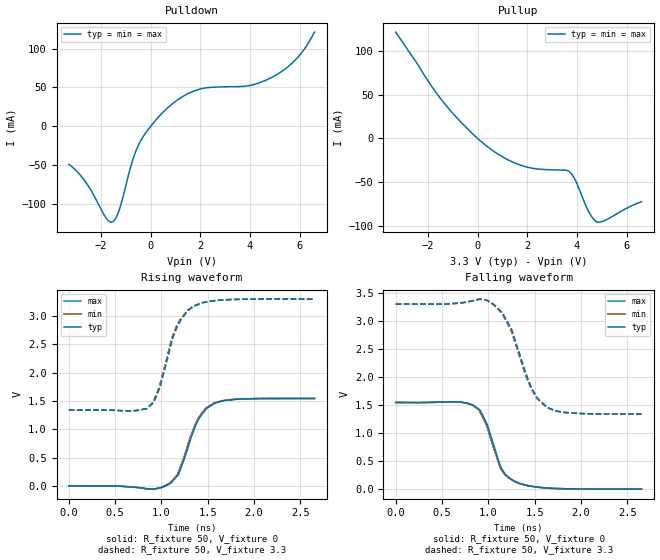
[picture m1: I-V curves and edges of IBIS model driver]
| IBIS file ex2_nomiller_tr20ps.ibs created by PYS2IBIS3
| Missouri S&T EMC Lab
[IBIS Ver] 7.1
[File Name] ex2_nomiller_tr20ps.ibs
[File Rev] 1.0
[Date] July 28, 2026
[Source] ex2 variant nomiller -- n4->out Miller caps removed
[Notes] Parameter selection; sim_time=2.653e-09, tr=tf=2.000e-11.
[Disclaimer] Experimental characterization for pybis observability study.
[Component] MCM Driver 1
[Manufacturer] MegaFLOPS Inc.
[Package]
| variable   typ   min   max
R_pkg 0 NA NA
L_pkg 0H NA NA
C_pkg 0F NA NA
[Pin]  signal_name   model_name   R_pin   L_pin   C_pin
vdd   vdd   POWER
gnd   gnd   GND
| in in dummy
out   out   driver
| End of Component
| Models and submodels in the file (1): driver (Output)
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[Model] driver
Model_type Output
Polarity Non-Inverting
Enable Active-Low
Vinl  = 0.8V
Vinh  = 2V
C_comp 5.0000pF 5.0000pF 5.0000pF
[Temperature Range] 27.0000 27.0000 27.0000
[Voltage Range] 3.3000V 3.3000V 3.3000V
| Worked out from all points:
|   slope of the pulldown table from 0 to 0.495 V, typ, clamps not added: 27.4 ohm
|   slope of the pullup table from 0 to 0.495 V, typ, clamps not added: 42.7 ohm
|   rising waveform, R_fixture 50, V_fixture 0: 20-80 % time 215ps typ, 215ps min, 215ps max; typ from 0 V to 1.54 V
|   rising waveform, R_fixture 50, V_fixture 3.3: 20-80 % time 219ps typ, 218ps min, 218ps max; typ from 1.34 V to 3.3 V
|   falling waveform, R_fixture 50, V_fixture 0: 20-80 % time 202ps typ, 203ps min, 203ps max; typ from 1.54 V to 0 V
|   falling waveform, R_fixture 50, V_fixture 3.3: 20-80 % time 261ps typ, 261ps min, 261ps max; typ from 3.3 V to 1.34 V
[Pulldown]
| Voltage   I(typ)   I(min)   I(max)
-3.3V     -48.93mA   -48.93mA   -48.93mA
-2.6V     -72.86mA   -72.86mA   -72.86mA
-1.8V     -118.2mA   -118.2mA   -118.2mA
-1.5V     -122.5mA   -122.5mA   -122.5mA
-1.3V     -110.9mA   -110.9mA   -110.9mA
-500mV    -24.59mA   -24.59mA   -24.59mA
600mV     21.34mA    21.34mA    21.34mA
1.9V      47.12mA    47.12mA    47.12mA
3.9V      51.99mA    51.99mA    51.99mA
4.9V      63.38mA    63.38mA    63.38mA
5.9V      87.99mA    87.99mA    87.99mA
6.6V      121.3mA    121.3mA    121.3mA
[Pullup]
| Voltage   I(typ)   I(min)   I(max)
-3.3V     122mA      122mA      122mA
-1.9V     61.75mA    61.75mA    61.75mA
-1.3V     38.86mA    38.86mA    38.86mA
-200mV    5.278mA    5.278mA    5.278mA
700mV     -15.75mA   -15.75mA   -15.75mA
2V        -32.92mA   -32.92mA   -32.92mA
3.7V      -38.24mA   -38.24mA   -38.24mA
3.9V      -45.89mA   -45.89mA   -45.89mA
4.5V      -85.43mA   -85.43mA   -85.43mA
4.8V      -95.97mA   -95.97mA   -95.97mA
5.1V      -94.48mA   -94.48mA   -94.48mA
6.6V      -72.53mA   -72.53mA   -72.53mA
[Ramp]
| variable   typ   min   max
dV/dt_r 0.9270/0.2147n 0.9270/0.2154n 0.9270/0.2154n
dV/dt_f 1.1766/0.2606n  1.1766/0.26n  1.1766/0.26n
R_load = 50
[Rising Waveform]
R_fixture = 50
V_fixture = 0
|time   V(typ)   V(min)   V(max)
0s        7.302nV    7.302nV    7.302nV
847ps     -49.91mV   -54.56mV   -54.56mV
1.014ns   -23.84mV   -14.09mV   -14.09mV
1.089ns   35.87mV    45.44mV    45.44mV
1.184ns   202.3mV    248.2mV    248.2mV
1.365ns   1.053V     1.089V     1.089V
1.484ns   1.366V     1.378V     1.378V
1.564ns   1.451V     1.46V      1.46V
1.848ns   1.535V     1.534V     1.534V
2.653ns   1.545V     1.545V     1.545V
[Rising Waveform]
R_fixture = 50
V_fixture = 3.3
|time   V(typ)   V(min)   V(max)
0s        1.338V     1.338V     1.338V
844.4ps   1.371V     1.37V      1.37V
913.4ps   1.466V     1.487V     1.487V
985.1ps   1.743V     1.798V     1.798V
1.113ns   2.551V     2.61V      2.61V
1.163ns   2.787V     2.824V     2.824V
1.216ns   2.951V     2.968V     2.968V
1.338ns   3.161V     3.171V     3.171V
1.638ns   3.282V     3.283V     3.283V
2.653ns   3.3V       3.3V       3.3V
[Falling Waveform]
R_fixture = 50
V_fixture = 0
|time   V(typ)   V(min)   V(max)
0s        1.545V     1.545V     1.545V
679.8ps   1.555V     1.555V     1.555V
844.4ps   1.492V     1.48V      1.48V
900.1ps   1.422V     1.412V     1.412V
987.8ps   1.152V     1.11V      1.11V
1.129ns   416.6mV    381.2mV    381.2mV
1.182ns   267.1mV    253.7mV    253.7mV
1.336ns   105.2mV    99.72mV    99.72mV
1.662ns   15.39mV    14.75mV    14.75mV
2.653ns   80.41uV    77.7uV     77.7uV
[Falling Waveform]
R_fixture = 50
V_fixture = 3.3
|time   V(typ)   V(min)   V(max)
0s        3.3V       3.3V       3.3V
990.4ps   3.367V     3.359V     3.359V
1.142ns   3.161V     3.147V     3.147V
1.232ns   2.908V     2.882V     2.882V
1.405ns   2.069V     2.023V     2.023V
1.46ns    1.836V     1.8V       1.8V
1.532ns   1.618V     1.605V     1.605V
1.63ns    1.471V     1.458V     1.458V
1.899ns   1.357V     1.356V     1.356V
2.653ns   1.339V     1.339V     1.339V
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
